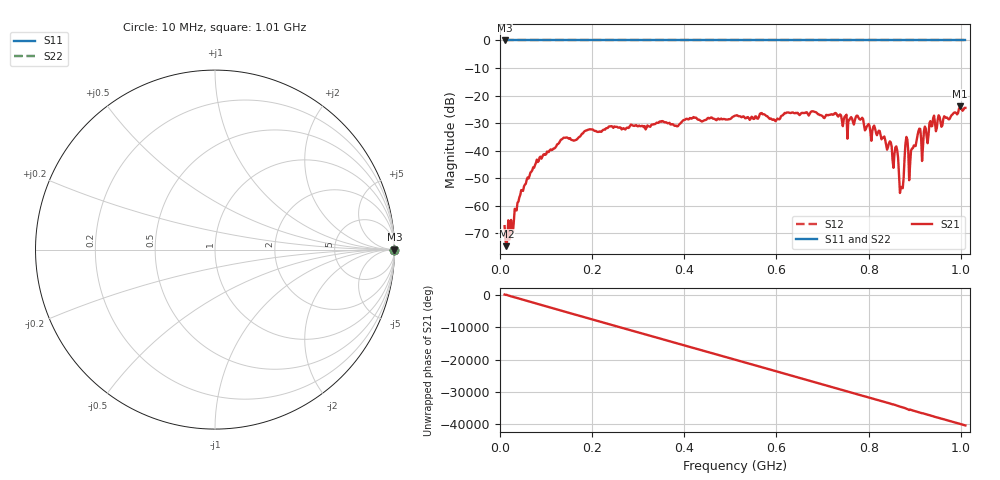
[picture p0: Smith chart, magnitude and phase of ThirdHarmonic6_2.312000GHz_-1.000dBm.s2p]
! 8/17/2025 3:13:10 AM
! C:\ANRITSUVNA\TEMP\TEMP.S2P
! CHANNEL.1
! TR.MEASUREMENT
! RAW.DATA
! RF.CORRECTION.OFF
! AVERAGING.OFF
! IF.BANDWIDTH: 5KHZ
! SWEEPTYPE:  FREQ.SWEEP(Linear)
! Reference Plane Port Info
! PORT:  PORT1  PORT2
! DISTANCE:  0  m  0  m
! TIME:  0  s  0  s
! PHASE.OFFSET:  0  deg.  0  deg.
! LOSS:  0  dB  0  dB
! REF.LOSS:  0  dB  0  dB
! REF.FREQ:  0  Hz  0  Hz
! Power Info
! POWER:  -20  dBm  -20  dBm
! EFF.POWER:  -20  dBm  -20  dBm
! SOURCE.ATTEN:  0  dB  0  dB
! TEST.ATTEN:  0  dB  0  dB
# GHZ S RI R 50.0
! FREQ.GHZ  S11RE  S11IM  S21RE  S21IM  S12RE  S12IM  S22RE  S22IM
!; PortSelection: Port_12
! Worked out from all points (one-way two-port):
!   501 points, 10 MHz to 1.01 GHz, reference 50 ohm
!   highest |S21| = -23.86 dB at 998 MHz (marker M1); lowest = -74.6 dB at 14 MHz (marker M2)
!   lowest |S11| = 0.0 dB at 10 MHz (marker M3)
!   |S11| at or under -10 dB: nowhere
!   |S22| runs from 0.0 to 0.0 dB; largest |S21 - S12| = 1.1
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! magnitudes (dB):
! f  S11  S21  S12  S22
! 10 MHz  0.0  -67.3  0.0  0.0
! 14 MHz  0.0  -74.6  0.0  0.0
! 24 MHz  0.0  -65.1  0.0  0.0
! 44 MHz  0.0  -56.0  0.0  0.0
! 84 MHz  0.0  -43.7  0.0  0.0
! 136 MHz  0.0  -35.6  0.0  0.0
! 178 MHz  0.0  -33.8  0.0  0.0
! 344 MHz  0.0  -29.9  0.0  0.0
! 510 MHz  0.0  -27.3  0.0  0.0
! 678 MHz  0.0  -25.7  0.0  0.0
! 758 MHz  0.0  -28.9  0.0  0.0
! 776 MHz  0.0  -27.3  0.0  0.0
! 844 MHz  0.0  -37.3  0.0  0.0
! 860 MHz  0.0  -38.4  0.0  0.0
! 872 MHz  0.0  -53.1  0.0  0.0
! 882 MHz  0.0  -35.0  0.0  0.0
! 892 MHz  0.0  -40.0  0.0  0.0
! 908 MHz  0.0  -33.0  0.0  0.0
! 918 MHz  0.0  -38.5  0.0  0.0
! 938 MHz  0.0  -31.0  0.0  0.0
! 998 MHz  0.0  -23.9  0.0  0.0
! 1.01 GHz  0.0  -24.5  0.0  0.0
